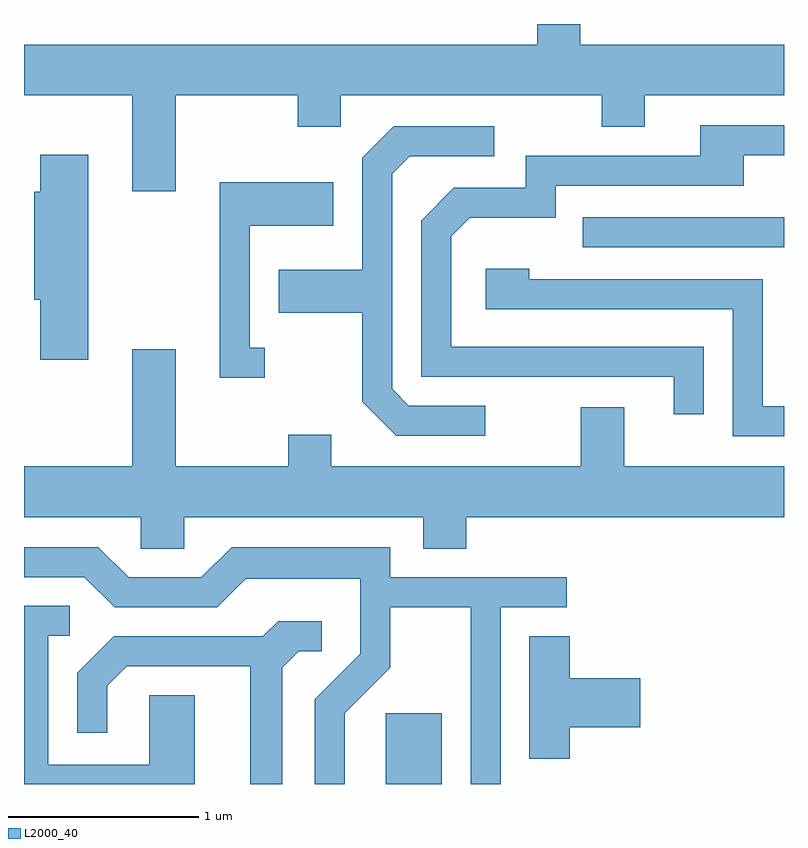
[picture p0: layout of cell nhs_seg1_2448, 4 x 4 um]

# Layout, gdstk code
import gdstk
lib = gdstk.Library(unit=1e-6, precision=1e-09)
def R(c, l, rs):  # rectangles x0, y0, x1, y1
    for r in rs: c.add(gdstk.rectangle(r[:2], r[2:], *l))
def P(c, l, *ps):  # polygons
    for p in ps: c.add(gdstk.Polygon(p, *l))
L2000_40 = (2000, 40)

nhs_seg1_2448 = lib.new_cell('nhs_seg1_2448')
R(nhs_seg1_2448, L2000_40, [(261.516,913.712,261.809,914.084), (262.553,916.536,263.611,916.694)])
P(nhs_seg1_2448, L2000_40, [(260.409,917.336),(261.051,917.336),(261.051,917.171),(261.279,917.171),(261.279,917.336),(262.651,917.336),(262.651,917.171),(262.879,917.171),(262.879,917.336),(263.611,917.336),(263.611,917.604),(262.539,917.604),(262.539,917.712),(262.311,917.712),(262.311,917.604),(259.611,917.604),(259.611,917.336),(260.181,917.336),(260.181,916.831),(260.409,916.831)],
  [(263.189,916.014),(261.859,916.014),(261.859,916.594),(261.957,916.691),(262.409,916.691),(262.409,916.861),(263.399,916.861),(263.399,917.021),(263.611,917.021),(263.611,917.179),(263.171,917.179),(263.171,917.019),(262.251,917.019),(262.251,916.849),(261.873,916.849),(261.701,916.677),(261.701,915.856),(263.031,915.856),(263.031,915.658),(263.189,915.658)],
  [(262.038,915.704),(261.637,915.704),(261.549,915.792),(261.549,916.924),(261.642,917.016),(262.087,917.016),(262.087,917.174),(261.558,917.174),(261.391,917.007),(261.391,916.419),(260.951,916.419),(260.951,916.191),(261.391,916.191),(261.391,915.724),(261.569,915.546),(262.038,915.546)],
  [(259.949,917.024),(259.696,917.024),(259.696,916.829),(259.666,916.829),(259.666,916.261),(259.696,916.261),(259.696,915.946),(259.949,915.946)],
  [(260.878,916.009),(260.799,916.009),(260.799,916.651),(261.239,916.651),(261.239,916.879),(260.641,916.879),(260.641,915.851),(260.878,915.851)],
  [(263.611,915.699),(263.499,915.699),(263.499,916.369),(262.269,916.369),(262.269,916.424),(262.041,916.424),(262.041,916.211),(263.341,916.211),(263.341,915.541),(263.611,915.541)],
  [(260.454,915.116),(261.711,915.116),(261.711,914.951),(261.939,914.951),(261.939,915.116),(263.611,915.116),(263.611,915.384),(262.769,915.384),(262.769,915.694),(262.541,915.694),(262.541,915.384),(261.229,915.384),(261.229,915.549),(261.001,915.549),(261.001,915.384),(260.409,915.384),(260.409,915.999),(260.181,915.999),(260.181,915.384),(259.611,915.384),(259.611,915.116),(260.226,915.116),(260.226,914.951),(260.454,914.951)],
  [(261.299,914.084),(261.539,914.324),(261.539,914.641),(261.961,914.641),(261.961,913.712),(262.119,913.712),(262.119,914.641),(262.468,914.641),(262.468,914.799),(261.539,914.799),(261.539,914.959),(260.704,914.959),(260.544,914.799),(260.162,914.799),(260.002,914.959),(259.611,914.959),(259.611,914.801),(259.929,914.801),(260.089,914.641),(260.627,914.641),(260.777,914.791),(261.381,914.791),(261.381,914.397),(261.141,914.157),(261.141,913.712),(261.299,913.712)],
  [(260.509,914.179),(260.271,914.179),(260.271,913.814),(259.739,913.814),(259.739,914.491),(259.853,914.491),(259.853,914.649),(259.611,914.649),(259.611,913.712),(260.509,913.712)],
  [(260.969,914.324),(261.057,914.411),(261.178,914.411),(261.178,914.569),(260.949,914.569),(260.868,914.489),(260.084,914.489),(259.891,914.297),(259.891,913.983),(260.049,913.983),(260.049,914.229),(260.152,914.331),(260.801,914.331),(260.801,913.712),(260.969,913.712)],
  [(262.484,914.011),(262.854,914.011),(262.854,914.269),(262.484,914.269),(262.484,914.489),(262.271,914.489),(262.271,913.846),(262.484,913.846)])

lib.write_gds('nhs_seg1_2448.gds')
